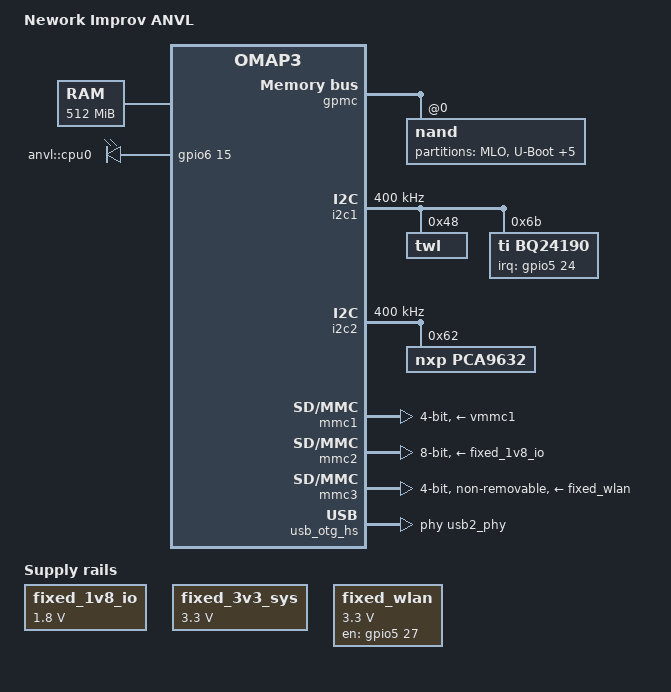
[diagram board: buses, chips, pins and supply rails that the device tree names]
/*
 * Copyright (C) 2013 Network Improv
 *
 * This program is free software; you can redistribute it and/or modify
 * it under the terms of the GNU General Public License version 2 as
 * published by the Free Software Foundation.
 */
/dts-v1/;

#include "omap36xx.dtsi"

/ {
	model = "Nework Improv ANVL";
	compatible = "ti,omap3-anvl", "ti,omap3";

	cpus {
		cpu@0 {
			cpu0-supply = <&vcc>;
		};
	};

	memory {
		device_type = "memory";
		reg = <0x80000000 0x20000000>;	/* 512 MB */
	};

	fixed_1v8_io: fixed_1v8_io {
		compatible = "regulator-fixed";
		regulator-name = "1v8_io";
		regulator-min-microvolt = <1800000>;
		regulator-max-microvolt = <1800000>;
		regulator-boot-on;
	};

	fixed_3v3_sys: fixed_3v3_sys {
		compatible = "regulator-fixed";
		regulator-name = "3v3_sys";
		regulator-min-microvolt = <3300000>;
		regulator-max-microvolt = <3300000>;
		regulator-boot-on;
	};

	fixed_wlan: fixed_wlan {
		compatible = "regulator-fixed";
		regulator-name = "fixed_wlan";
		regulator-min-microvolt = <3300000>;
		regulator-max-microvolt = <3300000>;
		enable-active-high;
		gpio = <&gpio5 27 0>;	/* gpio155 */
	};

	leds {
		compatible = "gpio-leds";
		heartbeat {
			label = "anvl::cpu0";
			gpios = <&gpio6 15 0>;	/* gpio175 */
			linux,default-trigger = "cpu0";
		};
	};

	sound {
		compatible = "ti,omap-twl4030";
		ti,model = "anvl";

		ti,mcbsp = <&mcbsp2>;
		ti,codec = <&twl_audio>;
		ti,audio-routing =
			"Handsfree Spk", "HFL";
	};
};

&omap3_pmx_core {
	mmc1_pins: pinmux_mmc1_pins {
		pinctrl-single,pins = <
			0x114 0x18	/* sdmmc1_clk.sdmmc1_clk OUTPUT_PULLUP | MODE0 */
			0x116 0x18	/* sdmmc1_cmd.sdmmc1_cmd OUTPUT_PULLUP | MODE0 */
			0x118 0x118	/* sdmmc1_dat0.sdmmc1_dat0 INPUT_PULLUP | MODE0 */
			0x11a 0x118	/* sdmmc1_dat1.sdmmc1_dat1 INPUT_PULLUP | MODE0 */
			0x11c 0x118	/* sdmmc1_dat2.sdmmc1_dat2 INPUT_PULLUP | MODE0 */
			0x11e 0x118	/* sdmmc1_dat3.sdmmc1_dat3 INPUT_PULLUP | MODE0 */
		>;
	};

	mmc2_pins: pinmux_mmc2_pins {
		pinctrl-single,pins = <
			0xb6 0x3e1c	/* dss_data5.gpio_75 gpio75 OFF* | OUTPUT | MODE4 EMMC_RESET */
			0x128 0x118	/* sdmmc2_clk.sdmmc2_clk INPUT_PULLUP | MODE0 */
			0x12a 0x118	/* sdmmc2_cmd.sdmmc2_cmd INPUT_PULLUP | MODE0 */
			0x12c 0x100	/* sdmmc2_dat0.sdmmc2_dat0 INPUT | MODE0 */
			0x12e 0x100	/* sdmmc2_dat1.sdmmc2_dat1 INPUT | MODE0 */
			0x130 0x100	/* sdmmc2_dat2.sdmmc2_dat2 INPUT | MODE0 */
			0x132 0x100	/* sdmmc2_dat3.sdmmc2_dat3 INPUT | MODE0 */
			0x134 0x100	/* sdmmc2_dat4.sdmmc2_dat4 INPUT | MODE0 */
			0x136 0x100	/* sdmmc2_dat5.sdmmc2_dat5 INPUT | MODE0 */
			0x138 0x100	/* sdmmc2_dat6.sdmmc2_dat6 INPUT | MODE0 */
			0x13a 0x100	/* sdmmc2_dat7.sdmmc2_dat7 INPUT | MODE0 */
		>;
	};

	mmc3_active_pin: pinmux_mmc3_active_pin {
		pinctrl-single,pins = <
			0x5b6 0x11a	/* etk_d5.sdmmc3_dat1 INPUT_PULLUP | MODE2 */
		>;
	};

	mmc3_idle_pin: pinmux_mmc3_idle_pin {
		pinctrl-single,pins = <
			0x5b6 0x4104	/* etk_d5.gpio19 WAKEUP | INPUT | MODE4 */
		>;
		gpios = <&gpio1 19 0>;	/* gpio19 */
	};

	mmc3_pins: pinmux_mmc3_pins {
		pinctrl-single,pins = <
			0x15a 0xf04	/* mcbsp4_fsx.gpio_155 OFF_OUTPUT_HIGH | MODE4 WLAN_PDN */
			0x1a4 0x104	/* mcspi1_cs3.gpio_177 INPUT | MODE4 WLAN_SLEEP */
			0x156 0x4	/* mcbsp4_dr.gpio_153 MODE4 WLAN_WKUP */
			0x1a2 0x4	/* mcspi1_cs2.gpio_176 MODE4 WLAN_EEPROM_WP */
			0x5a8 0x331a	/* etk_clk.sdmmc3_clk OFF_PULLUP | INPUT_PULLUP | MODE2 */
			0x5aa 0x331a	/* etk_ctl.sdmmc3_cmd OFF_PULLUP | INPUT_PULLUP | MODE2 */
			0x5b2 0x331a	/* etk_d3.sdmmc3_dat3 OFF_PULLUP | INPUT_PULLUP | MODE2 */
			0x5b4 0x331a	/* etk_d4.sdmmc3_dat0 OFF_PULLUP | INPUT_PULLUP | MODE2 */
			0x5b8 0x331a	/* etk_d6.sdmmc3_dat2 OFF_PULLUP | INPUT_PULLUP | MODE2 */
		>;
	};

	uart1_pins: pinmux_uart1_pins {
		pinctrl-single,pins = <
			0x150 0x108	/* uart1_cts.uart1_cts INPUT_PULLDOWN | MODE0 */
			0x14e 0x10	/* uart1_rts.uart1_rts OUTPUT | MODE0 */
			0x152 0x4100	/* uart1_rx.uart1_rx WAKEUP | INPUT | MODE0 */
			0x14c 0x0	/* uart1_tx.uart1_tx OUTPUT | MODE0 */
		>;
		interrupts = <72>;
	};

	uart3_pins: pinmux_uart3_pins {
		pinctrl-single,pins = <
			0x16e 0x4100	/* uart3_rx_irrx.uart3_rx_irrx WAKEUP | INPUT | MODE0 */
			0x170 0x0	/* uart3_tx_irtx.uart3_tx_irtx OUTPUT | MODE0 */
		>;
		interrupts = <74>;
	};
};

&omap3_pmx_wkup {
	wlan_host_wkup: pinmux_wlan_host_wkup_pins {
		pinctrl-single,pins = <
			0x1a 0x411c	/* sys_clkout1.gpio_10 WAKEUP |INPUT_PULLUP | MODE4 WLAN_HOST_WKUP */
		>;
	};
};

&gpmc {
	ranges = <0 0 0x00000000 0x20000000>;

	nand@0,0 {
		linux,mtd-name = "micron,mt29c4g96maz";

		reg = <0 0 0>;
		nand-bus-width = <16>;
		ti,nand-ecc-opt = "bch8";

		gpmc,sync-clk-ps = <0>;
		gpmc,cs-on-ns = <0>;
		gpmc,cs-rd-off-ns = <44>;
		gpmc,cs-wr-off-ns = <44>;
		gpmc,adv-on-ns = <6>;
		gpmc,adv-rd-off-ns = <34>;
		gpmc,adv-wr-off-ns = <44>;
		gpmc,we-off-ns = <40>;
		gpmc,oe-off-ns = <54>;
		gpmc,access-ns = <64>;
		gpmc,rd-cycle-ns = <82>;
		gpmc,wr-cycle-ns = <82>;
		gpmc,wr-access-ns = <40>;
		gpmc,wr-data-mux-bus-ns = <0>;

		#address-cells = <1>;
		#size-cells = <1>;

		partition@0 {
			label = "MLO";
			reg = <0 0x80000>;
		};
		partition@80000 {
			label = "U-Boot";
			reg = <0x80000 0x1c0000>;
		};
		partition@240000 {
			label = "U-Boot Environment";
			reg = <0x240000 0x20000>;
		};
		partition@260000 {
			label = "Kernel";
			reg = <0x260000 0x600000>;
		};
		partition@860000 {
			label = "Initrd";
			reg = <0x860000 0x1000000>;
		};
		partition@1880000 {
			label = "MTD Oops";
			reg = <0x1860000 0x100000>;
		};
		partition@1980000 {
			label = "Filesystem";
			reg = <0x1960000 0x1e6a0000>;
		};
	};
};

&i2c1 {
	clock-frequency = <400000>;

	twl: twl@48 {
		reg = <0x48>;
		interrupts = <7>;	/* SYS_NIRQ */
		interrupt-parent = <&intc>;

		twl_audio: audio {
			compatible = "ti,twl4030-audio";
			codec {
			};
		};
	};

	bq24190: bq24190@6b {
		compatible = "ti,bq24190";
		reg = <0x6b>;
		interrupts = <24 IRQ_TYPE_EDGE_RISING>;
		interrupt-parent = <&gpio5>;
	};
};

/include/ "twl4030.dtsi"

&i2c2 {
	clock-frequency = <400000>;

	pca9632: pca9632 {
		compatible = "nxp,pca9632", "nxp,pca963x";
		#address-cells = <1>;
		#size-cells = <0>;
		reg = <0x62>;

		red@0 {
			label = "red";
			reg = <0>;
			linux,default-trigger = "none";
		};
		green@1 {
			label = "green";
			reg = <1>;
			linux,default-trigger = "none";
		};
		blue@2 {
			label = "blue";
			reg = <2>;
			linux,default-trigger = "none";
		};
		unused@3 {
			label = "unused";
			reg = <3>;
			linux,default-trigger = "none";
		};
	};
};

&mmc1 {
	vmmc-supply = <&vmmc1>;
	bus-width = <4>;
	pinctrl-names = "default";
	pinctrl-0 = <&mmc1_pins>;
};

&mmc2 {
	vmmc-supply = <&fixed_1v8_io>;
	ti,non-removable;
	bus-width = <8>;
	pinctrl-names = "default";
	pinctrl-0 = <&mmc2_pins>;
};

&mmc3 {
	vmmc-supply = <&fixed_wlan>;
	non-removable;
	bus-width = <4>;
	cap-power-off-card;
	ti,cirq-gpio = <&gpio1 19 0>;	/* gpio19 */
	pinctrl-names = "default", "active", "idle";
	pinctrl-0 = <&mmc3_pins &wlan_host_wkup>;
	pinctrl-1 = <&mmc3_active_pin>;
	pinctrl-2 = <&mmc3_idle_pin>;
};

&uart1 {
       pinctrl-names = "default";
       pinctrl-0 = <&uart1_pins>;
};

&uart2 {
	status = "disabled";
};

&uart3 {
       pinctrl-names = "default";
       pinctrl-0 = <&uart3_pins>;
};

&uart4 {
	status = "disabled";
};

&usbhshost {
	status = "disabled";
};

&usb_otg_hs {
	interface-type = <0>;
	usb-phy = <&usb2_phy>;
	mode = <3>;
	power = <50>;
};
